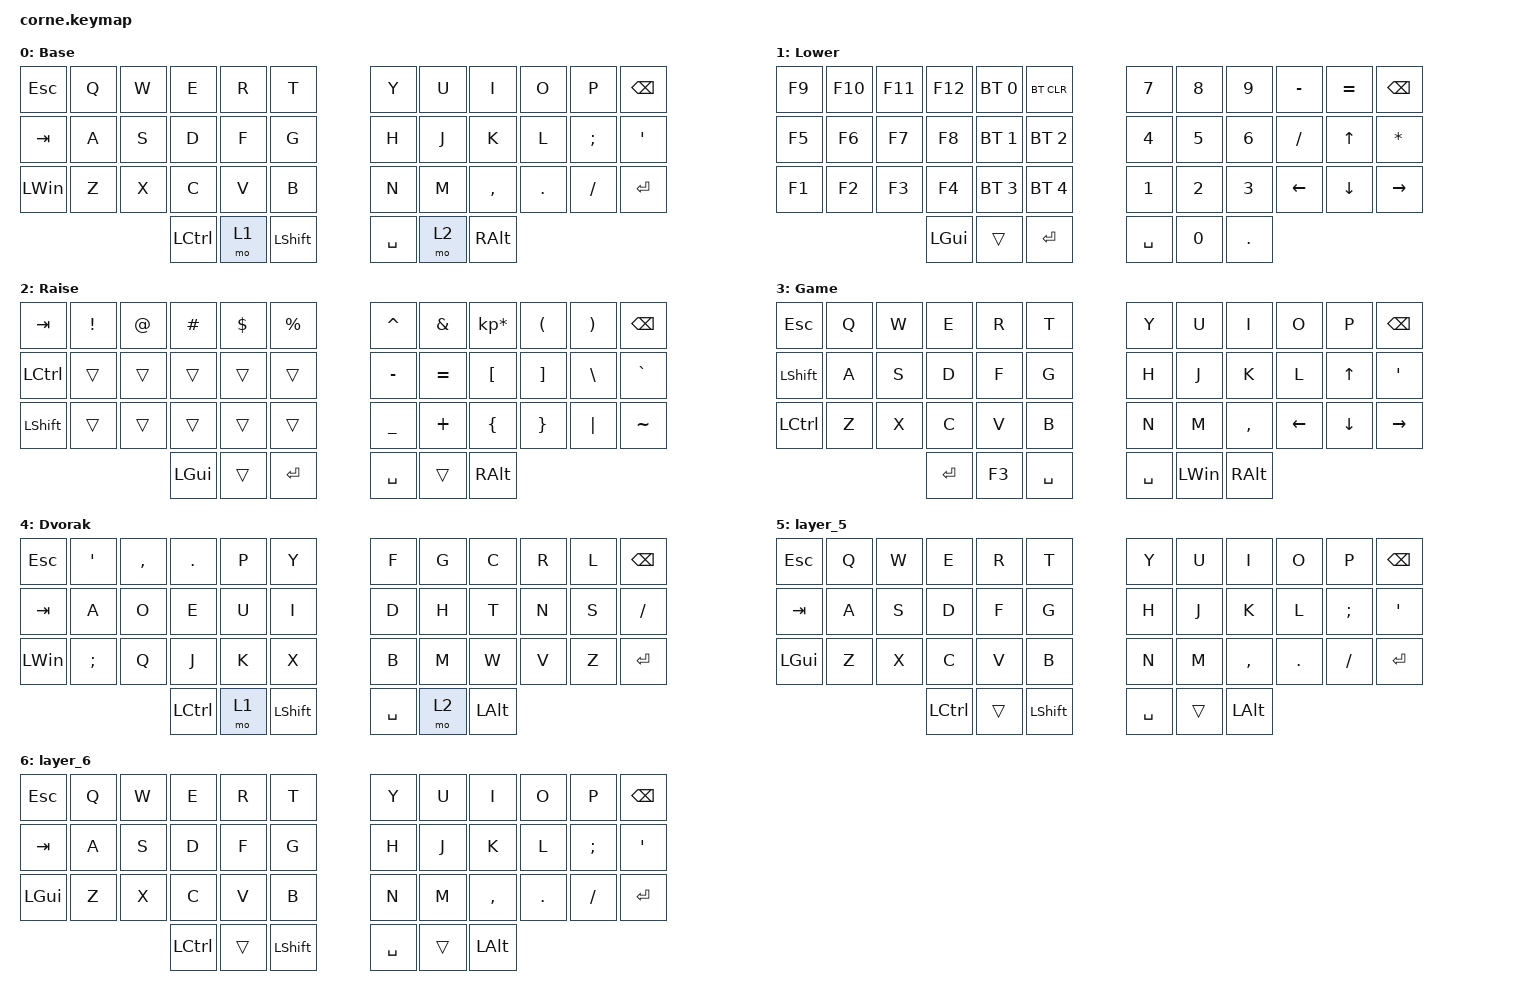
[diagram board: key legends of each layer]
/*
 * Copyright (c) 2020 The ZMK Contributors
 *
 * SPDX-License-Identifier: MIT
 */

#include <behaviors.dtsi>
#include <dt-bindings/zmk/bt.h>
#include <dt-bindings/zmk/keys.h>

/ {
    combos {
        compatible = "zmk,combos";

        GamingLayer {
            bindings = <&tog 3>;
            key-positions = <37 40>;
        };

        dvorak {
            bindings = <&tog 4>;
            key-positions = <40 37 0 11>;
        };

        Layer5 {
            bindings = <&tog 5>;
            key-positions = <37 40 0>;
        };

        Layer6 {
            bindings = <&tog 6>;
            key-positions = <37 40 11>;
        };
    };

    keymap {
        compatible = "zmk,keymap";

        default_layer {
            // -----------------------------------------------------------------------------------------
            // |  TAB |  Q  |  W  |  E  |  R  |  T  |   |  Y  |  U   |  I  |  O  |  P  | BKSP |
            // | CTRL |  A  |  S  |  D  |  F  |  G  |   |  H  |  J   |  K  |  L  |  ;  |  '   |
            // | SHFT |  Z  |  X  |  C  |  V  |  B  |   |  N  |  M   |  ,  |  .  |  /  | ESC  |
            //                    | GUI | LWR | SPC |   | ENT | RSE  | ALT |

            display-name = "Base";
            bindings = <
&kp ESCAPE    &kp Q  &kp W  &kp E             &kp R  &kp T             &kp Y      &kp U  &kp I      &kp O    &kp P     &kp BSPC
&kp TAB       &kp A  &kp S  &kp D             &kp F  &kp G             &kp H      &kp J  &kp K      &kp L    &kp SEMI  &kp SQT
&kp LEFT_WIN  &kp Z  &kp X  &kp C             &kp V  &kp B             &kp N      &kp M  &kp COMMA  &kp DOT  &kp FSLH  &kp RET
                            &kp LEFT_CONTROL  &mo 1  &kp LEFT_SHIFT    &kp SPACE  &mo 2  &kp RALT
            >;
        };

        lower_layer {
            // -----------------------------------------------------------------------------------------
            // |  TAB |  1  |  2  |  3  |  4  |  5  |   |  6  |  7  |  8  |  9  |  0  | BKSP |
            // | BTCLR| BT1 | BT2 | BT3 | BT4 | BT5 |   | LFT | DWN |  UP | RGT |     |      |
            // | SHFT |     |     |     |     |     |   |     |     |     |     |     |      |
            //                    | GUI |     | SPC |   | ENT |     | ALT |

            display-name = "Lower";
            bindings = <
&kp F9  &kp F10  &kp F11  &kp F12   &bt BT_SEL 0  &bt BT_CLR      &kp N7     &kp N8  &kp N9   &kp MINUS       &kp EQUAL       &kp BSPC
&kp F5  &kp F6   &kp F7   &kp F8    &bt BT_SEL 1  &bt BT_SEL 2    &kp N4     &kp N5  &kp N6   &kp SLASH       &kp UP_ARROW    &kp ASTRK
&kp F1  &kp F2   &kp F3   &kp F4    &bt BT_SEL 3  &bt BT_SEL 4    &kp N1     &kp N2  &kp N3   &kp LEFT_ARROW  &kp DOWN_ARROW  &kp RIGHT_ARROW
                          &kp LGUI  &trans        &kp RET         &kp SPACE  &kp N0  &kp DOT
            >;
        };

        raise_layer {
            // -----------------------------------------------------------------------------------------
            // |  TAB |  !  |  @  |  #  |  $  |  %  |   |  ^  |  &  |  *  |  (  |  )  | BKSP |
            // | CTRL |     |     |     |     |     |   |  -  |  =  |  [  |  ]  |  \  |  `   |
            // | SHFT |     |     |     |     |     |   |  _  |  +  |  {  |  }  | "|" |  ~   |
            //                    | GUI |     | SPC |   | ENT |     | ALT |

            display-name = "Raise";
            bindings = <
&kp TAB    &kp EXCL  &kp AT  &kp HASH  &kp DLLR  &kp PRCNT    &kp CARET  &kp AMPS   &kp KP_MULTIPLY  &kp LPAR  &kp RPAR  &kp BSPC
&kp LCTRL  &trans    &trans  &trans    &trans    &trans       &kp MINUS  &kp EQUAL  &kp LBKT         &kp RBKT  &kp BSLH  &kp GRAVE
&kp LSHFT  &trans    &trans  &trans    &trans    &trans       &kp UNDER  &kp PLUS   &kp LBRC         &kp RBRC  &kp PIPE  &kp TILDE
                             &kp LGUI  &trans    &kp RET      &kp SPACE  &trans     &kp RALT
            >;
        };

        GamerLayer {
            display-name = "Game";
            bindings = <
&kp ESCAPE        &kp Q  &kp W  &kp E    &kp R   &kp T        &kp Y      &kp U         &kp I      &kp O           &kp P           &kp BSPC
&kp LEFT_SHIFT    &kp A  &kp S  &kp D    &kp F   &kp G        &kp H      &kp J         &kp K      &kp L           &kp UP_ARROW    &kp SQT
&kp LEFT_CONTROL  &kp Z  &kp X  &kp C    &kp V   &kp B        &kp N      &kp M         &kp COMMA  &kp LEFT_ARROW  &kp DOWN_ARROW  &kp RIGHT_ARROW
                                &kp RET  &kp F3  &kp SPACE    &kp SPACE  &kp LEFT_WIN  &kp RALT
            >;
        };

        Dvorak {
            bindings = <
&kp ESC       &kp SQT        &kp COMMA  &kp PERIOD        &kp P  &kp Y             &kp F      &kp G  &kp C         &kp R  &kp L  &kp BACKSPACE
&kp TAB       &kp A          &kp O      &kp E             &kp U  &kp I             &kp D      &kp H  &kp T         &kp N  &kp S  &kp SLASH
&kp LEFT_WIN  &kp SEMICOLON  &kp Q      &kp J             &kp K  &kp X             &kp B      &kp M  &kp W         &kp V  &kp Z  &kp RET
                                        &kp LEFT_CONTROL  &mo 1  &kp LEFT_SHIFT    &kp SPACE  &mo 2  &kp LEFT_ALT
            >;

            label = "Dvorak";
        };

        layer_5 {
            bindings = <
&kp ESC   &kp Q  &kp W  &kp E      &kp R   &kp T        &kp Y      &kp U   &kp I      &kp O    &kp P     &kp BSPC
&kp TAB   &kp A  &kp S  &kp D      &kp F   &kp G        &kp H      &kp J   &kp K      &kp L    &kp SEMI  &kp APOS
&kp LGUI  &kp Z  &kp X  &kp C      &kp V   &kp B        &kp N      &kp M   &kp COMMA  &kp DOT  &kp FSLH  &kp ENTER
                        &kp LCTRL  &trans  &kp LSHFT    &kp SPACE  &trans  &kp LALT
            >;
        };

        layer_6 {
            bindings = <
&kp ESC   &kp Q  &kp W  &kp E      &kp R   &kp T        &kp Y      &kp U   &kp I      &kp O    &kp P     &kp BSPC
&kp TAB   &kp A  &kp S  &kp D      &kp F   &kp G        &kp H      &kp J   &kp K      &kp L    &kp SEMI  &kp APOS
&kp LGUI  &kp Z  &kp X  &kp C      &kp V   &kp B        &kp N      &kp M   &kp COMMA  &kp DOT  &kp FSLH  &kp ENTER
                        &kp LCTRL  &trans  &kp LSHFT    &kp SPACE  &trans  &kp LALT
            >;
        };
    };
};
